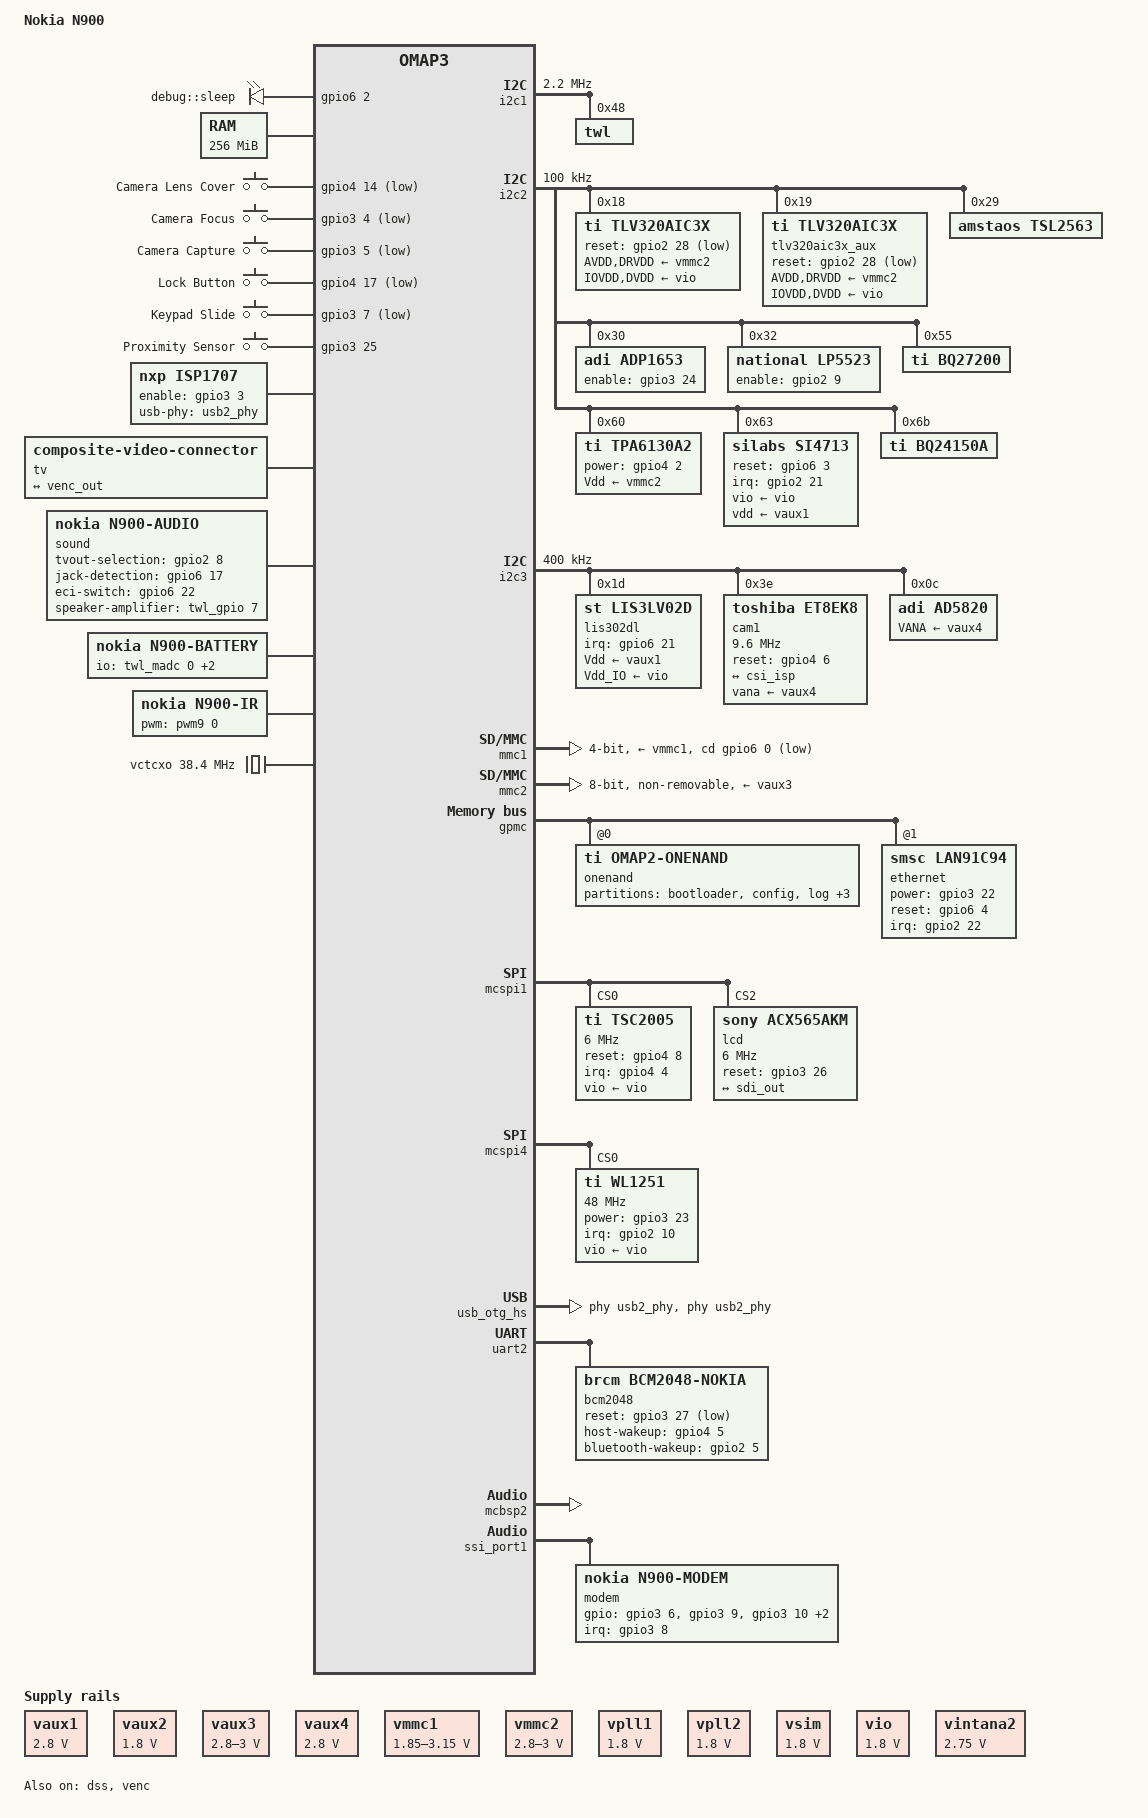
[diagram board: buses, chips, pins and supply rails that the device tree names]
// SPDX-License-Identifier: GPL-2.0-or-later
/*
 * Copyright (C) 2013 Pavel Machek <pavel@ucw.cz>
 * Copyright (C) 2013-2014 Aaro Koskinen <aaro.koskinen@iki.fi>
 */

/dts-v1/;

#include "omap34xx.dtsi"
#include <dt-bindings/input/input.h>

/*
 * Default secure signed bootloader (Nokia X-Loader) does not enable L3 firewall
 * for omap AES HW crypto support. When linux kernel try to access memory of AES
 * blocks then kernel receive "Unhandled fault: external abort on non-linefetch"
 * and crash. Until somebody fix omap-aes.c and omap_hwmod_3xxx_data.c code (no
 * crash anymore) omap AES support will be disabled for all Nokia N900 devices.
 * There is "unofficial" version of bootloader which enables AES in L3 firewall
 * but it is not widely used and to prevent kernel crash rather AES is disabled.
 * There is also no runtime detection code if AES is disabled in L3 firewall...
 */
&aes {
	status = "disabled";
};

/ {
	model = "Nokia N900";
	compatible = "nokia,omap3-n900", "ti,omap3430", "ti,omap3";

	aliases {
		i2c0;
		i2c1 = &i2c1;
		i2c2 = &i2c2;
		i2c3 = &i2c3;
		display0 = &lcd;
		display1 = &tv;
	};

	cpus {
		cpu@0 {
			cpu0-supply = <&vcc>;
		};
	};

	leds {
		compatible = "gpio-leds";
		heartbeat {
			label = "debug::sleep";
			gpios = <&gpio6 2 GPIO_ACTIVE_HIGH>;  /* 162 */
			linux,default-trigger = "default-on";
			pinctrl-names = "default";
			pinctrl-0 = <&debug_leds>;
		};
	};

	memory@80000000 {
		device_type = "memory";
		reg = <0x80000000 0x10000000>; /* 256 MB */
	};

	gpio_keys {
		compatible = "gpio-keys";

		camera_lens_cover {
			label = "Camera Lens Cover";
			gpios = <&gpio4 14 GPIO_ACTIVE_LOW>; /* 110 */
			linux,input-type = <EV_SW>;
			linux,code = <SW_CAMERA_LENS_COVER>;
			linux,can-disable;
		};

		camera_focus {
			label = "Camera Focus";
			gpios = <&gpio3 4 GPIO_ACTIVE_LOW>; /* 68 */
			linux,code = <KEY_CAMERA_FOCUS>;
			linux,can-disable;
		};

		camera_capture {
			label = "Camera Capture";
			gpios = <&gpio3 5 GPIO_ACTIVE_LOW>; /* 69 */
			linux,code = <KEY_CAMERA>;
			linux,can-disable;
		};

		lock_button {
			label = "Lock Button";
			gpios = <&gpio4 17 GPIO_ACTIVE_LOW>; /* 113 */
			linux,code = <KEY_SCREENLOCK>;
			linux,can-disable;
		};

		keypad_slide {
			label = "Keypad Slide";
			gpios = <&gpio3 7 GPIO_ACTIVE_LOW>; /* 71 */
			linux,input-type = <EV_SW>;
			linux,code = <SW_KEYPAD_SLIDE>;
			linux,can-disable;
		};

		proximity_sensor {
			label = "Proximity Sensor";
			gpios = <&gpio3 25 GPIO_ACTIVE_HIGH>; /* 89 */
			linux,input-type = <EV_SW>;
			linux,code = <SW_FRONT_PROXIMITY>;
			linux,can-disable;
		};
	};

	isp1707: isp1707 {
		compatible = "nxp,isp1707";
		nxp,enable-gpio = <&gpio3 3 GPIO_ACTIVE_HIGH>;
		usb-phy = <&usb2_phy>;
	};

	tv: connector {
		compatible = "composite-video-connector";
		label = "tv";

		port {
			tv_connector_in: endpoint {
				remote-endpoint = <&venc_out>;
			};
		};
	};

	sound: n900-audio {
		compatible = "nokia,n900-audio";

		nokia,cpu-dai = <&mcbsp2>;
		nokia,audio-codec = <&tlv320aic3x>, <&tlv320aic3x_aux>;
		nokia,headphone-amplifier = <&tpa6130a2>;

		tvout-selection-gpios = <&gpio2 8 GPIO_ACTIVE_HIGH>; /* 40 */
		jack-detection-gpios = <&gpio6 17 GPIO_ACTIVE_HIGH>; /* 177 */
		eci-switch-gpios = <&gpio6 22 GPIO_ACTIVE_HIGH>; /* 182 */
		speaker-amplifier-gpios = <&twl_gpio 7 GPIO_ACTIVE_HIGH>;
	};

	battery: n900-battery {
		compatible = "nokia,n900-battery";
		io-channels = <&twl_madc 0>, <&twl_madc 4>, <&twl_madc 12>;
		io-channel-names = "temp", "bsi", "vbat";
	};

	pwm9: dmtimer-pwm {
		compatible = "ti,omap-dmtimer-pwm";
		#pwm-cells = <3>;
		ti,timers = <&timer9>;
		ti,clock-source = <0x00>; /* timer_sys_ck */
	};

	ir: n900-ir {
		compatible = "nokia,n900-ir";
		pwms = <&pwm9 0 26316 0>; /* 38000 Hz */
	};

	rom_rng: rng {
		compatible = "nokia,n900-rom-rng";
		clocks = <&rng_ick>;
		clock-names = "ick";
	};

	/* controlled (enabled/disabled) directly by bcm2048 and wl1251 */
	vctcxo: vctcxo {
		compatible = "fixed-clock";
		#clock-cells = <0>;
		clock-frequency = <38400000>;
	};
};

&isp {
	vdds_csib-supply = <&vaux2>;

	pinctrl-names = "default";
	pinctrl-0 = <&camera_pins>;

	ports {
		port@1 {
			reg = <1>;

			csi_isp: endpoint {
				remote-endpoint = <&csi_cam1>;
				bus-type = <3>; /* CCP2 */
				clock-lanes = <1>;
				data-lanes = <0>;
				lane-polarity = <0 0>;
				/* Select strobe = <1> for back camera, <0> for front camera */
				strobe = <1>;
			};
		};
	};
};

&omap3_pmx_core {
	pinctrl-names = "default";

	uart2_pins: pinmux_uart2_pins {
		pinctrl-single,pins = <
			OMAP3_CORE1_IOPAD(0x2174, PIN_INPUT_PULLUP | MUX_MODE0)		/* uart2_cts */
			OMAP3_CORE1_IOPAD(0x2176, PIN_OUTPUT | MUX_MODE0)		/* uart2_rts */
			OMAP3_CORE1_IOPAD(0x2178, PIN_OUTPUT | MUX_MODE0)		/* uart2_tx */
			OMAP3_CORE1_IOPAD(0x217a, PIN_INPUT | MUX_MODE0)		/* uart2_rx */
		>;
	};

	uart3_pins: pinmux_uart3_pins {
		pinctrl-single,pins = <
			OMAP3_CORE1_IOPAD(0x219e, PIN_INPUT | MUX_MODE0)		/* uart3_rx */
			OMAP3_CORE1_IOPAD(0x21a0, PIN_OUTPUT | MUX_MODE0)		/* uart3_tx */
		>;
	};

	ethernet_pins: pinmux_ethernet_pins {
		pinctrl-single,pins = <
			OMAP3_CORE1_IOPAD(0x20b4, PIN_INPUT_PULLDOWN | MUX_MODE4)	/* gpmc_ncs3.gpio_54 */
			OMAP3_CORE1_IOPAD(0x20fc, PIN_OUTPUT | MUX_MODE4)		/* dss_data16.gpio_86 */
			OMAP3_CORE1_IOPAD(0x219c, PIN_OUTPUT | MUX_MODE4)		/* uart3_rts_sd.gpio_164 */
		>;
	};

	gpmc_pins: pinmux_gpmc_pins {
		pinctrl-single,pins = <

			/* address lines */
                        OMAP3_CORE1_IOPAD(0x207a, PIN_OUTPUT | MUX_MODE0)       /* gpmc_a1.gpmc_a1 */
                        OMAP3_CORE1_IOPAD(0x207c, PIN_OUTPUT | MUX_MODE0)       /* gpmc_a2.gpmc_a2 */
                        OMAP3_CORE1_IOPAD(0x207e, PIN_OUTPUT | MUX_MODE0)       /* gpmc_a3.gpmc_a3 */

			/* data lines, gpmc_d0..d7 not muxable according to TRM */
                        OMAP3_CORE1_IOPAD(0x209e, PIN_INPUT | MUX_MODE0)        /* gpmc_d8.gpmc_d8 */
                        OMAP3_CORE1_IOPAD(0x20a0, PIN_INPUT | MUX_MODE0)        /* gpmc_d9.gpmc_d9 */
                        OMAP3_CORE1_IOPAD(0x20a2, PIN_INPUT | MUX_MODE0)        /* gpmc_d10.gpmc_d10 */
                        OMAP3_CORE1_IOPAD(0x20a4, PIN_INPUT | MUX_MODE0)        /* gpmc_d11.gpmc_d11 */
                        OMAP3_CORE1_IOPAD(0x20a6, PIN_INPUT | MUX_MODE0)        /* gpmc_d12.gpmc_d12 */
                        OMAP3_CORE1_IOPAD(0x20a8, PIN_INPUT | MUX_MODE0)        /* gpmc_d13.gpmc_d13 */
                        OMAP3_CORE1_IOPAD(0x20aa, PIN_INPUT | MUX_MODE0)        /* gpmc_d14.gpmc_d14 */
                        OMAP3_CORE1_IOPAD(0x20ac, PIN_INPUT | MUX_MODE0)        /* gpmc_d15.gpmc_d15 */

			/*
			 * gpmc_ncs0, gpmc_nadv_ale, gpmc_noe, gpmc_nwe, gpmc_wait0 not muxable
			 * according to TRM. OneNAND seems to require PIN_INPUT on clock.
			 */
                        OMAP3_CORE1_IOPAD(0x20b0, PIN_OUTPUT | MUX_MODE0)       /* gpmc_ncs1.gpmc_ncs1 */
                        OMAP3_CORE1_IOPAD(0x20be, PIN_INPUT | MUX_MODE0)        /* gpmc_clk.gpmc_clk */
		>;
	};

	i2c1_pins: pinmux_i2c1_pins {
		pinctrl-single,pins = <
			OMAP3_CORE1_IOPAD(0x21ba, PIN_INPUT | MUX_MODE0)		/* i2c1_scl */
			OMAP3_CORE1_IOPAD(0x21bc, PIN_INPUT | MUX_MODE0)		/* i2c1_sda */
		>;
	};

	i2c2_pins: pinmux_i2c2_pins {
		pinctrl-single,pins = <
			OMAP3_CORE1_IOPAD(0x21be, PIN_INPUT | MUX_MODE0)		/* i2c2_scl */
			OMAP3_CORE1_IOPAD(0x21c0, PIN_INPUT | MUX_MODE0)		/* i2c2_sda */
		>;
	};

	i2c3_pins: pinmux_i2c3_pins {
		pinctrl-single,pins = <
			OMAP3_CORE1_IOPAD(0x21c2, PIN_INPUT | MUX_MODE0)		/* i2c3_scl */
			OMAP3_CORE1_IOPAD(0x21c4, PIN_INPUT | MUX_MODE0)		/* i2c3_sda */
		>;
	};

	debug_leds: pinmux_debug_led_pins {
		pinctrl-single,pins = <
			OMAP3_CORE1_IOPAD(0x2198, PIN_OUTPUT | MUX_MODE4)	/* mcbsp1_clkx.gpio_162 */
		>;
	};

	mcspi4_pins: pinmux_mcspi4_pins {
		pinctrl-single,pins = <
			OMAP3_CORE1_IOPAD(0x218c, PIN_INPUT_PULLDOWN | MUX_MODE1) /* mcspi4_clk */
			OMAP3_CORE1_IOPAD(0x2192, PIN_INPUT_PULLDOWN | MUX_MODE1) /* mcspi4_somi */
			OMAP3_CORE1_IOPAD(0x2190, PIN_OUTPUT | MUX_MODE1) /* mcspi4_simo */
			OMAP3_CORE1_IOPAD(0x2196, PIN_OUTPUT | MUX_MODE1) /* mcspi4_cs0 */
		>;
	};

	mmc1_pins: pinmux_mmc1_pins {
		pinctrl-single,pins = <
			OMAP3_CORE1_IOPAD(0x2144, PIN_INPUT_PULLUP | MUX_MODE0)	/* sdmmc1_clk */
			OMAP3_CORE1_IOPAD(0x2146, PIN_INPUT_PULLUP | MUX_MODE0)	/* sdmmc1_cmd */
			OMAP3_CORE1_IOPAD(0x2148, PIN_INPUT_PULLUP | MUX_MODE0) 	/* sdmmc1_dat0 */
			OMAP3_CORE1_IOPAD(0x214a, PIN_INPUT_PULLUP | MUX_MODE0)	/* sdmmc1_dat1 */
			OMAP3_CORE1_IOPAD(0x214c, PIN_INPUT_PULLUP | MUX_MODE0)	/* sdmmc1_dat2 */
			OMAP3_CORE1_IOPAD(0x214e, PIN_INPUT_PULLUP | MUX_MODE0)	/* sdmmc1_dat3 */
		>;
	};

	mmc2_pins: pinmux_mmc2_pins {
		pinctrl-single,pins = <
			OMAP3_CORE1_IOPAD(0x2158, PIN_INPUT_PULLUP | MUX_MODE0)	/* sdmmc2_clk */
			OMAP3_CORE1_IOPAD(0x215a, PIN_INPUT_PULLUP | MUX_MODE0)	/* sdmmc2_cmd */
			OMAP3_CORE1_IOPAD(0x215c, PIN_INPUT_PULLUP | MUX_MODE0) 	/* sdmmc2_dat0 */
			OMAP3_CORE1_IOPAD(0x215e, PIN_INPUT_PULLUP | MUX_MODE0)	/* sdmmc2_dat1 */
			OMAP3_CORE1_IOPAD(0x2160, PIN_INPUT_PULLUP | MUX_MODE0)	/* sdmmc2_dat2 */
			OMAP3_CORE1_IOPAD(0x2162, PIN_INPUT_PULLUP | MUX_MODE0)	/* sdmmc2_dat3 */
			OMAP3_CORE1_IOPAD(0x2164, PIN_INPUT_PULLUP | MUX_MODE0)	/* sdmmc2_dat4 */
			OMAP3_CORE1_IOPAD(0x2166, PIN_INPUT_PULLUP | MUX_MODE0)	/* sdmmc2_dat5 */
			OMAP3_CORE1_IOPAD(0x2168, PIN_INPUT_PULLUP | MUX_MODE0)	/* sdmmc2_dat6 */
			OMAP3_CORE1_IOPAD(0x216a, PIN_INPUT_PULLUP | MUX_MODE0)	/* sdmmc2_dat7 */
		>;
	};

	acx565akm_pins: pinmux_acx565akm_pins {
		pinctrl-single,pins = <
			OMAP3_CORE1_IOPAD(0x2104, PIN_OUTPUT | MUX_MODE4)		/* RX51_LCD_RESET_GPIO */
		>;
	};

	dss_sdi_pins: pinmux_dss_sdi_pins {
		pinctrl-single,pins = <
			OMAP3_CORE1_IOPAD(0x20f0, PIN_OUTPUT | MUX_MODE1)   /* dss_data10.sdi_dat1n */
			OMAP3_CORE1_IOPAD(0x20f2, PIN_OUTPUT | MUX_MODE1)   /* dss_data11.sdi_dat1p */
			OMAP3_CORE1_IOPAD(0x20f4, PIN_OUTPUT | MUX_MODE1)   /* dss_data12.sdi_dat2n */
			OMAP3_CORE1_IOPAD(0x20f6, PIN_OUTPUT | MUX_MODE1)   /* dss_data13.sdi_dat2p */

			OMAP3_CORE1_IOPAD(0x2108, PIN_OUTPUT | MUX_MODE1)   /* dss_data22.sdi_clkp */
			OMAP3_CORE1_IOPAD(0x210a, PIN_OUTPUT | MUX_MODE1)   /* dss_data23.sdi_clkn */
		>;
	};

	wl1251_pins: pinmux_wl1251 {
		pinctrl-single,pins = <
			OMAP3_CORE1_IOPAD(0x20fe, PIN_OUTPUT | MUX_MODE4)		/* gpio 87 => wl1251 enable */
			OMAP3_CORE1_IOPAD(0x208a, PIN_INPUT | MUX_MODE4)		/* gpio 42 => wl1251 irq */
		>;
	};

	ssi_pins: pinmux_ssi {
		pinctrl-single,pins = <
			OMAP3_CORE1_IOPAD(0x2180, PIN_INPUT_PULLUP | MUX_MODE1)	/* ssi1_rdy_tx */
			OMAP3_CORE1_IOPAD(0x217e, PIN_OUTPUT | MUX_MODE1)		/* ssi1_flag_tx */
			OMAP3_CORE1_IOPAD(0x2182, PIN_INPUT | MUX_MODE4)		/* ssi1_wake_tx (cawake) */
			OMAP3_CORE1_IOPAD(0x217c, PIN_OUTPUT | MUX_MODE1)		/* ssi1_dat_tx */
			OMAP3_CORE1_IOPAD(0x2184, PIN_INPUT | MUX_MODE1)		/* ssi1_dat_rx */
			OMAP3_CORE1_IOPAD(0x2186, PIN_INPUT | MUX_MODE1)		/* ssi1_flag_rx */
			OMAP3_CORE1_IOPAD(0x2188, PIN_OUTPUT | MUX_MODE1)		/* ssi1_rdy_rx */
			OMAP3_CORE1_IOPAD(0x218a, PIN_OUTPUT | MUX_MODE1)		/* ssi1_wake */
		>;
	};

	modem_pins: pinmux_modem {
		pinctrl-single,pins = <
			OMAP3_CORE1_IOPAD(0x20dc, PIN_OUTPUT | MUX_MODE4)		/* gpio 70 => cmt_apeslpx */
			OMAP3_CORE1_IOPAD(0x20e0, PIN_INPUT | MUX_MODE4)		/* gpio 72 => ape_rst_rq */
			OMAP3_CORE1_IOPAD(0x20e2, PIN_OUTPUT | MUX_MODE4)		/* gpio 73 => cmt_rst_rq */
			OMAP3_CORE1_IOPAD(0x20e4, PIN_OUTPUT | MUX_MODE4)		/* gpio 74 => cmt_en */
			OMAP3_CORE1_IOPAD(0x20e6, PIN_OUTPUT | MUX_MODE4)		/* gpio 75 => cmt_rst */
			OMAP3_CORE1_IOPAD(0x218e, PIN_OUTPUT | MUX_MODE4)		/* gpio 157 => cmt_bsi */
		>;
	};

	camera_pins: pinmux_camera {
		pinctrl-single,pins = <
			OMAP3_CORE1_IOPAD(0x210c, PIN_OUTPUT | MUX_MODE7)       /* cam_hs */
			OMAP3_CORE1_IOPAD(0x210e, PIN_OUTPUT | MUX_MODE7)       /* cam_vs */
			OMAP3_CORE1_IOPAD(0x2110, PIN_OUTPUT | MUX_MODE0)       /* cam_xclka */
			OMAP3_CORE1_IOPAD(0x211e, PIN_OUTPUT | MUX_MODE7)       /* cam_d4 */
			OMAP3_CORE1_IOPAD(0x2122, PIN_INPUT | MUX_MODE0)        /* cam_d6 */
			OMAP3_CORE1_IOPAD(0x2124, PIN_INPUT | MUX_MODE0)        /* cam_d7 */
			OMAP3_CORE1_IOPAD(0x2126, PIN_INPUT | MUX_MODE0)        /* cam_d8 */
			OMAP3_CORE1_IOPAD(0x2128, PIN_INPUT | MUX_MODE0)        /* cam_d9 */
			OMAP3_CORE1_IOPAD(0x212a, PIN_OUTPUT | MUX_MODE7)       /* cam_d10 */
			OMAP3_CORE1_IOPAD(0x212e, PIN_OUTPUT | MUX_MODE7)       /* cam_xclkb */
			OMAP3_CORE1_IOPAD(0x2132, PIN_OUTPUT | MUX_MODE0)       /* cam_strobe */
		>;
	};
};

&i2c1 {
	pinctrl-names = "default";
	pinctrl-0 = <&i2c1_pins>;

	clock-frequency = <2200000>;

	twl: twl@48 {
		reg = <0x48>;
		interrupts = <7>; /* SYS_NIRQ cascaded to intc */
		interrupt-parent = <&intc>;
	};
};

#include "twl4030.dtsi"
#include "twl4030_omap3.dtsi"

&vaux1 {
	regulator-name = "V28";
	regulator-min-microvolt = <2800000>;
	regulator-max-microvolt = <2800000>;
	regulator-initial-mode = <0x0e>; /* RES_STATE_ACTIVE */
	regulator-always-on; /* due to battery cover sensor */
};

&vaux2 {
	regulator-name = "VCSI";
	regulator-min-microvolt = <1800000>;
	regulator-max-microvolt = <1800000>;
	regulator-initial-mode = <0x0e>; /* RES_STATE_ACTIVE */
};

&vaux3 {
	regulator-name = "VMMC2_30";
	regulator-min-microvolt = <2800000>;
	regulator-max-microvolt = <3000000>;
	regulator-initial-mode = <0x0e>; /* RES_STATE_ACTIVE */
};

&vaux4 {
	regulator-name = "VCAM_ANA_28";
	regulator-min-microvolt = <2800000>;
	regulator-max-microvolt = <2800000>;
	regulator-initial-mode = <0x0e>; /* RES_STATE_ACTIVE */
};

&vmmc1 {
	regulator-name = "VMMC1";
	regulator-min-microvolt = <1850000>;
	regulator-max-microvolt = <3150000>;
	regulator-initial-mode = <0x0e>; /* RES_STATE_ACTIVE */
};

&vmmc2 {
	regulator-name = "V28_A";
	regulator-min-microvolt = <2800000>;
	regulator-max-microvolt = <3000000>;
	regulator-initial-mode = <0x0e>; /* RES_STATE_ACTIVE */
	regulator-always-on; /* due VIO leak to AIC34 VDDs */
};

&vpll1 {
	regulator-name = "VPLL";
	regulator-min-microvolt = <1800000>;
	regulator-max-microvolt = <1800000>;
	regulator-initial-mode = <0x0e>; /* RES_STATE_ACTIVE */
	regulator-always-on;
};

&vpll2 {
	regulator-name = "VSDI_CSI";
	regulator-min-microvolt = <1800000>;
	regulator-max-microvolt = <1800000>;
	regulator-initial-mode = <0x0e>; /* RES_STATE_ACTIVE */
	regulator-always-on;
};

&vsim {
	regulator-name = "VMMC2_IO_18";
	regulator-min-microvolt = <1800000>;
	regulator-max-microvolt = <1800000>;
	regulator-initial-mode = <0x0e>; /* RES_STATE_ACTIVE */
};

&vio {
	regulator-name = "VIO";
	regulator-min-microvolt = <1800000>;
	regulator-max-microvolt = <1800000>;
};

&vintana1 {
	regulator-name = "VINTANA1";
	/* fixed to 1500000 */
	regulator-always-on;
};

&vintana2 {
	regulator-name = "VINTANA2";
	regulator-min-microvolt = <2750000>;
	regulator-max-microvolt = <2750000>;
	regulator-always-on;
};

&vintdig {
	regulator-name = "VINTDIG";
	/* fixed to 1500000 */
	regulator-always-on;
};

/* First two dma channels are reserved on secure omap3 */
&sdma {
	dma-channel-mask = <0xfffffffc>;
};

&twl {
	twl_audio: audio {
		compatible = "ti,twl4030-audio";
		ti,enable-vibra = <1>;
	};

	twl_power: power {
		compatible = "ti,twl4030-power-n900", "ti,twl4030-power-idle-osc-off";
		ti,use_poweroff;
	};
};

&twl_keypad {
	linux,keymap = < MATRIX_KEY(0x00, 0x00, KEY_Q)
			 MATRIX_KEY(0x00, 0x01, KEY_O)
			 MATRIX_KEY(0x00, 0x02, KEY_P)
			 MATRIX_KEY(0x00, 0x03, KEY_COMMA)
			 MATRIX_KEY(0x00, 0x04, KEY_BACKSPACE)
			 MATRIX_KEY(0x00, 0x06, KEY_A)
			 MATRIX_KEY(0x00, 0x07, KEY_S)

			 MATRIX_KEY(0x01, 0x00, KEY_W)
			 MATRIX_KEY(0x01, 0x01, KEY_D)
			 MATRIX_KEY(0x01, 0x02, KEY_F)
			 MATRIX_KEY(0x01, 0x03, KEY_G)
			 MATRIX_KEY(0x01, 0x04, KEY_H)
			 MATRIX_KEY(0x01, 0x05, KEY_J)
			 MATRIX_KEY(0x01, 0x06, KEY_K)
			 MATRIX_KEY(0x01, 0x07, KEY_L)

			 MATRIX_KEY(0x02, 0x00, KEY_E)
			 MATRIX_KEY(0x02, 0x01, KEY_DOT)
			 MATRIX_KEY(0x02, 0x02, KEY_UP)
			 MATRIX_KEY(0x02, 0x03, KEY_ENTER)
			 MATRIX_KEY(0x02, 0x05, KEY_Z)
			 MATRIX_KEY(0x02, 0x06, KEY_X)
			 MATRIX_KEY(0x02, 0x07, KEY_C)
			 MATRIX_KEY(0x02, 0x08, KEY_F9)

			 MATRIX_KEY(0x03, 0x00, KEY_R)
			 MATRIX_KEY(0x03, 0x01, KEY_V)
			 MATRIX_KEY(0x03, 0x02, KEY_B)
			 MATRIX_KEY(0x03, 0x03, KEY_N)
			 MATRIX_KEY(0x03, 0x04, KEY_M)
			 MATRIX_KEY(0x03, 0x05, KEY_SPACE)
			 MATRIX_KEY(0x03, 0x06, KEY_SPACE)
			 MATRIX_KEY(0x03, 0x07, KEY_LEFT)

			 MATRIX_KEY(0x04, 0x00, KEY_T)
			 MATRIX_KEY(0x04, 0x01, KEY_DOWN)
			 MATRIX_KEY(0x04, 0x02, KEY_RIGHT)
			 MATRIX_KEY(0x04, 0x04, KEY_LEFTCTRL)
			 MATRIX_KEY(0x04, 0x05, KEY_RIGHTALT)
			 MATRIX_KEY(0x04, 0x06, KEY_LEFTSHIFT)
			 MATRIX_KEY(0x04, 0x08, KEY_F10)

			 MATRIX_KEY(0x05, 0x00, KEY_Y)
			 MATRIX_KEY(0x05, 0x08, KEY_F11)

			 MATRIX_KEY(0x06, 0x00, KEY_U)

			 MATRIX_KEY(0x07, 0x00, KEY_I)
			 MATRIX_KEY(0x07, 0x01, KEY_F7)
			 MATRIX_KEY(0x07, 0x02, KEY_F8)
			 >;
};

&twl_gpio {
	ti,pullups	= <0x0>;
	ti,pulldowns	= <0x03ff3f>; /* BIT(0..5) | BIT(8..17) */
};

&i2c2 {
	pinctrl-names = "default";
	pinctrl-0 = <&i2c2_pins>;

	clock-frequency = <100000>;

	tlv320aic3x: tlv320aic3x@18 {
		compatible = "ti,tlv320aic3x";
		reg = <0x18>;
		reset-gpios = <&gpio2 28 GPIO_ACTIVE_LOW>; /* 60 */
		ai3x-gpio-func = <
			0 /* AIC3X_GPIO1_FUNC_DISABLED */
			5 /* AIC3X_GPIO2_FUNC_DIGITAL_MIC_INPUT */
		>;

		AVDD-supply = <&vmmc2>;
		DRVDD-supply = <&vmmc2>;
		IOVDD-supply = <&vio>;
		DVDD-supply = <&vio>;

		ai3x-micbias-vg = <1>;
	};

	tlv320aic3x_aux: tlv320aic3x@19 {
		compatible = "ti,tlv320aic3x";
		reg = <0x19>;
		reset-gpios = <&gpio2 28 GPIO_ACTIVE_LOW>; /* 60 */

		AVDD-supply = <&vmmc2>;
		DRVDD-supply = <&vmmc2>;
		IOVDD-supply = <&vio>;
		DVDD-supply = <&vio>;

		ai3x-micbias-vg = <2>;
	};

	tsl2563: tsl2563@29 {
		compatible = "amstaos,tsl2563";
		reg = <0x29>;

		amstaos,cover-comp-gain = <16>;
	};

	adp1653: led-controller@30 {
		compatible = "adi,adp1653";
		reg = <0x30>;
		enable-gpios = <&gpio3 24 GPIO_ACTIVE_HIGH>; /* 88 */

		flash {
			flash-timeout-us = <500000>;
			flash-max-microamp = <320000>;
			led-max-microamp = <50000>;
		};
		indicator {
			led-max-microamp = <17500>;
		};
	};

	lp5523: lp5523@32 {
		compatible = "national,lp5523";
		reg = <0x32>;
		clock-mode = /bits/ 8 <0>; /* LP55XX_CLOCK_AUTO */
		enable-gpio = <&gpio2 9 GPIO_ACTIVE_HIGH>; /* 41 */

		chan0 {
			chan-name = "lp5523:kb1";
			led-cur = /bits/ 8 <50>;
			max-cur = /bits/ 8 <100>;
		};

		chan1 {
			chan-name = "lp5523:kb2";
			led-cur = /bits/ 8 <50>;
			max-cur = /bits/ 8 <100>;
		};

		chan2 {
			chan-name = "lp5523:kb3";
			led-cur = /bits/ 8 <50>;
			max-cur = /bits/ 8 <100>;
		};

		chan3 {
			chan-name = "lp5523:kb4";
			led-cur = /bits/ 8 <50>;
			max-cur = /bits/ 8 <100>;
		};

		chan4 {
			chan-name = "lp5523:b";
			led-cur = /bits/ 8 <50>;
			max-cur = /bits/ 8 <100>;
		};

		chan5 {
			chan-name = "lp5523:g";
			led-cur = /bits/ 8 <50>;
			max-cur = /bits/ 8 <100>;
		};

		chan6 {
			chan-name = "lp5523:r";
			led-cur = /bits/ 8 <50>;
			max-cur = /bits/ 8 <100>;
		};

		chan7 {
			chan-name = "lp5523:kb5";
			led-cur = /bits/ 8 <50>;
			max-cur = /bits/ 8 <100>;
		};

		chan8 {
			chan-name = "lp5523:kb6";
			led-cur = /bits/ 8 <50>;
			max-cur = /bits/ 8 <100>;
		};
	};

	bq27200: bq27200@55 {
		compatible = "ti,bq27200";
		reg = <0x55>;
		power-supplies = <&bq24150a>;
	};

	/* Stereo headphone amplifier */
	tpa6130a2: tpa6130a2@60 {
		compatible = "ti,tpa6130a2";
		reg = <0x60>;

		Vdd-supply = <&vmmc2>;

		power-gpio = <&gpio4 2 GPIO_ACTIVE_HIGH>; /* 98 */
	};

	si4713: si4713@63 {
		compatible = "silabs,si4713";
                reg = <0x63>;

                interrupts-extended = <&gpio2 21 IRQ_TYPE_EDGE_FALLING>; /* 53 */
                reset-gpios = <&gpio6 3 GPIO_ACTIVE_HIGH>; /* 163 */
                vio-supply = <&vio>;
                vdd-supply = <&vaux1>;
	};

	bq24150a: bq24150a@6b {
		compatible = "ti,bq24150a";
		reg = <0x6b>;

		ti,current-limit = <100>;
		ti,weak-battery-voltage = <3400>;
		ti,battery-regulation-voltage = <4200>;
		ti,charge-current = <650>;
		ti,termination-current = <100>;
		ti,resistor-sense = <68>;

		ti,usb-charger-detection = <&isp1707>;
	};
};

&i2c3 {
	pinctrl-names = "default";
	pinctrl-0 = <&i2c3_pins>;

	clock-frequency = <400000>;

	lis302dl: lis3lv02d@1d {
		compatible = "st,lis3lv02d";
		reg = <0x1d>;

		Vdd-supply = <&vaux1>;
		Vdd_IO-supply = <&vio>;

		interrupt-parent = <&gpio6>;
		interrupts = <21 20>; /* 181 and 180 */

		/* click flags */
		st,click-single-x;
		st,click-single-y;
		st,click-single-z;

		/* Limits are 0.5g * value */
		st,click-threshold-x = <8>;
		st,click-threshold-y = <8>;
		st,click-threshold-z = <10>;

		/* Click must be longer than time limit */
		st,click-time-limit = <9>;

		/* Kind of debounce filter */
		st,click-latency = <50>;

		/* Interrupt line 2 for click detection */
		st,irq2-click;

		st,wakeup-x-hi;
		st,wakeup-y-hi;
		st,wakeup-threshold = <(800/18)>; /* millig-value / 18 to get HW values */

		st,wakeup2-z-hi;
		st,wakeup2-threshold = <(900/18)>; /* millig-value / 18 to get HW values */

		st,hipass1-disable;
		st,hipass2-disable;

		st,axis-x = <1>;    /* LIS3_DEV_X */
		st,axis-y = <(-2)>; /* LIS3_INV_DEV_Y */
		st,axis-z = <(-3)>; /* LIS3_INV_DEV_Z */

		st,min-limit-x = <(-32)>;
		st,min-limit-y = <3>;
		st,min-limit-z = <3>;

		st,max-limit-x = <(-3)>;
		st,max-limit-y = <32>;
		st,max-limit-z = <32>;
	};

	cam1: camera@3e {
		compatible = "toshiba,et8ek8";
		reg = <0x3e>;

		vana-supply = <&vaux4>;

		clocks = <&isp 0>;
		clock-names = "extclk";
		clock-frequency = <9600000>;

		reset-gpio = <&gpio4 6 GPIO_ACTIVE_HIGH>; /* 102 */

		lens-focus = <&ad5820>;

		port {
			csi_cam1: endpoint {
				bus-type = <3>; /* CCP2 */
				strobe = <1>;
				clock-inv = <0>;
				crc = <1>;

				remote-endpoint = <&csi_isp>;
			};
		};
	};

	/* D/A converter for auto-focus */
	ad5820: dac@c {
		compatible = "adi,ad5820";
		reg = <0x0c>;

		VANA-supply = <&vaux4>;

		#io-channel-cells = <0>;
	};
};

&mmc1 {
	pinctrl-names = "default";
	pinctrl-0 = <&mmc1_pins>;
	vmmc-supply = <&vmmc1>;
	bus-width = <4>;
	/* For debugging, it is often good idea to remove this GPIO.
	   It means you can remove back cover (to reboot by removing
	   battery) and still use the MMC card. */
	cd-gpios = <&gpio6 0 GPIO_ACTIVE_LOW>; /* 160 */
};

/* most boards use vaux3, only some old versions use vmmc2 instead */
&mmc2 {
	pinctrl-names = "default";
	pinctrl-0 = <&mmc2_pins>;
	vmmc-supply = <&vaux3>;
	vqmmc-supply = <&vsim>;
	bus-width = <8>;
	non-removable;
	no-sdio;
	no-sd;
};

&mmc3 {
	status = "disabled";
};

&gpmc {
	ranges = <0 0 0x01000000 0x01000000>,	/* 16 MB for OneNAND */
		 <1 0 0x02000000 0x01000000>;	/* 16 MB for smc91c96 */
	pinctrl-names = "default";
	pinctrl-0 = <&gpmc_pins>;

	/* sys_ndmareq1 could be used by the driver, not as gpio65 though */
	onenand@0,0 {
		#address-cells = <1>;
		#size-cells = <1>;
		compatible = "ti,omap2-onenand";
		reg = <0 0 0x20000>;	/* CS0, offset 0, IO size 128K */

		/*
		 * These timings are based on CONFIG_OMAP_GPMC_DEBUG=y reported
		 * bootloader set values when booted with v5.1
		 * (OneNAND Manufacturer: Samsung):
		 *
		 *   cs0 GPMC_CS_CONFIG1: 0xfb001202
		 *   cs0 GPMC_CS_CONFIG2: 0x00111100
		 *   cs0 GPMC_CS_CONFIG3: 0x00020200
		 *   cs0 GPMC_CS_CONFIG4: 0x11001102
		 *   cs0 GPMC_CS_CONFIG5: 0x03101616
		 *   cs0 GPMC_CS_CONFIG6: 0x90060000
		 */
		gpmc,sync-read;
		gpmc,sync-write;
		gpmc,burst-length = <16>;
		gpmc,burst-read;
		gpmc,burst-wrap;
		gpmc,burst-write;
		gpmc,device-width = <2>;
		gpmc,mux-add-data = <2>;
		gpmc,cs-on-ns = <0>;
		gpmc,cs-rd-off-ns = <102>;
		gpmc,cs-wr-off-ns = <102>;
		gpmc,adv-on-ns = <0>;
		gpmc,adv-rd-off-ns = <12>;
		gpmc,adv-wr-off-ns = <12>;
		gpmc,oe-on-ns = <12>;
		gpmc,oe-off-ns = <102>;
		gpmc,we-on-ns = <0>;
		gpmc,we-off-ns = <102>;
		gpmc,rd-cycle-ns = <132>;
		gpmc,wr-cycle-ns = <132>;
		gpmc,access-ns = <96>;
		gpmc,page-burst-access-ns = <18>;
		gpmc,bus-turnaround-ns = <0>;
		gpmc,cycle2cycle-delay-ns = <0>;
		gpmc,wait-monitoring-ns = <0>;
		gpmc,clk-activation-ns = <6>;
		gpmc,wr-data-mux-bus-ns = <36>;
		gpmc,wr-access-ns = <96>;
		gpmc,sync-clk-ps = <15000>;

		/*
		 * MTD partition table corresponding to Nokia's
		 * Maemo 5 (Fremantle) release.
		 */
		partition@0 {
			label = "bootloader";
			reg = <0x00000000 0x00020000>;
			read-only;
		};
		partition@1 {
			label = "config";
			reg = <0x00020000 0x00060000>;
		};
		partition@2 {
			label = "log";
			reg = <0x00080000 0x00040000>;
		};
		partition@3 {
			label = "kernel";
			reg = <0x000c0000 0x00200000>;
		};
		partition@4 {
			label = "initfs";
			reg = <0x002c0000 0x00200000>;
		};
		partition@5 {
			label = "rootfs";
			reg = <0x004c0000 0x0fb40000>;
		};
	};

	/* Ethernet is on some early development boards and qemu */
	ethernet@gpmc {
		compatible = "smsc,lan91c94";
		interrupt-parent = <&gpio2>;
		interrupts = <22 IRQ_TYPE_LEVEL_HIGH>;	/* gpio54 */
		reg = <1 0 0xf>;		/* 16 byte IO range */
		bank-width = <2>;
		pinctrl-names = "default";
		pinctrl-0 = <&ethernet_pins>;
		power-gpios = <&gpio3 22 GPIO_ACTIVE_HIGH>;	/* gpio86 */
		reset-gpios = <&gpio6 4 GPIO_ACTIVE_HIGH>;	/* gpio164 */
		gpmc,device-width = <2>;
		gpmc,sync-clk-ps = <0>;
		gpmc,cs-on-ns = <0>;
		gpmc,cs-rd-off-ns = <48>;
		gpmc,cs-wr-off-ns = <24>;
		gpmc,adv-on-ns = <0>;
		gpmc,adv-rd-off-ns = <0>;
		gpmc,adv-wr-off-ns = <0>;
		gpmc,we-on-ns = <12>;
		gpmc,we-off-ns = <18>;
		gpmc,oe-on-ns = <12>;
		gpmc,oe-off-ns = <48>;
		gpmc,page-burst-access-ns = <0>;
		gpmc,access-ns = <42>;
		gpmc,rd-cycle-ns = <180>;
		gpmc,wr-cycle-ns = <180>;
		gpmc,bus-turnaround-ns = <0>;
		gpmc,cycle2cycle-delay-ns = <0>;
		gpmc,wait-monitoring-ns = <0>;
		gpmc,clk-activation-ns = <0>;
		gpmc,wr-access-ns = <0>;
		gpmc,wr-data-mux-bus-ns = <12>;
	};
};

&mcspi1 {
	/*
	 * For some reason, touchscreen is necessary for screen to work at
	 * all on real hw. It works well without it on emulator.
	 *
	 * Also... order in the device tree actually matters here.
	 */
	tsc2005@0 {
		compatible = "ti,tsc2005";
		spi-max-frequency = <6000000>;
		reg = <0>;

		vio-supply = <&vio>;

		reset-gpios = <&gpio4 8 GPIO_ACTIVE_HIGH>; /* 104 */
		interrupts-extended = <&gpio4 4 IRQ_TYPE_EDGE_RISING>; /* 100 */

		touchscreen-fuzz-x = <4>;
		touchscreen-fuzz-y = <7>;
		touchscreen-fuzz-pressure = <2>;
		touchscreen-size-x = <4096>;
		touchscreen-size-y = <4096>;
		touchscreen-max-pressure = <2048>;

		ti,x-plate-ohms = <280>;
		ti,esd-recovery-timeout-ms = <8000>;
	};

	lcd: acx565akm@2 {
		compatible = "sony,acx565akm";
		spi-max-frequency = <6000000>;
		reg = <2>;

		pinctrl-names = "default";
		pinctrl-0 = <&acx565akm_pins>;

		label = "lcd";
		reset-gpios = <&gpio3 26 GPIO_ACTIVE_HIGH>; /* 90 */

		port {
			lcd_in: endpoint {
				remote-endpoint = <&sdi_out>;
			};
		};
	};
};

&mcspi4 {
	pinctrl-names = "default";
	pinctrl-0 = <&mcspi4_pins>;

	wl1251@0 {
		pinctrl-names = "default";
		pinctrl-0 = <&wl1251_pins>;

		vio-supply = <&vio>;

		compatible = "ti,wl1251";
		reg = <0>;
		spi-max-frequency = <48000000>;

		spi-cpol;
		spi-cpha;

		ti,power-gpio = <&gpio3 23 GPIO_ACTIVE_HIGH>; /* 87 */

		interrupt-parent = <&gpio2>;
		interrupts = <10 IRQ_TYPE_NONE>; /* gpio line 42 */

		clocks = <&vctcxo>;
	};
};

/* RNG not directly accessible on n900, see omap3-rom-rng instead */
&rng_target {
	status = "disabled";
};

&usb_otg_hs {
	interface-type = <0>;
	usb-phy = <&usb2_phy>;
	phys = <&usb2_phy>;
	phy-names = "usb2-phy";
	mode = <2>;
	power = <50>;
};

&uart1 {
	status = "disabled";
};

&uart2 {
	pinctrl-names = "default";
	pinctrl-0 = <&uart2_pins>;

	bcm2048: bluetooth {
		compatible = "brcm,bcm2048-nokia", "nokia,h4p-bluetooth";
		reset-gpios = <&gpio3 27 GPIO_ACTIVE_LOW>; /* 91 */
		host-wakeup-gpios = <&gpio4 5 GPIO_ACTIVE_HIGH>; /* 101 */
		bluetooth-wakeup-gpios = <&gpio2 5 GPIO_ACTIVE_HIGH>; /* 37 */
		clocks = <&vctcxo>;
		clock-names = "sysclk";
	};
};

&uart3 {
	interrupts-extended = <&intc 74 &omap3_pmx_core OMAP3_UART3_RX>;
	pinctrl-names = "default";
	pinctrl-0 = <&uart3_pins>;
};

&dss {
	status = "ok";

	pinctrl-names = "default";
	pinctrl-0 = <&dss_sdi_pins>;

	vdds_sdi-supply = <&vaux1>;

	ports {
		#address-cells = <1>;
		#size-cells = <0>;

		port@1 {
			reg = <1>;

			sdi_out: endpoint {
				remote-endpoint = <&lcd_in>;
				datapairs = <2>;
			};
		};
	};
};

&venc {
	status = "ok";

	vdda-supply = <&vdac>;

	port {
		venc_out: endpoint {
			remote-endpoint = <&tv_connector_in>;
			ti,channels = <1>;
		};
	};
};

&mcbsp2 {
	status = "ok";
};

&ssi_port1 {
	pinctrl-names = "default";
	pinctrl-0 = <&ssi_pins>;

	ti,ssi-cawake-gpio = <&gpio5 23 GPIO_ACTIVE_HIGH>; /* 151 */

	modem: hsi-client {
		compatible = "nokia,n900-modem";

		pinctrl-names = "default";
		pinctrl-0 = <&modem_pins>;

		hsi-channel-ids = <0>, <1>, <2>, <3>;
		hsi-channel-names = "mcsaab-control",
				    "speech-control",
				    "speech-data",
				    "mcsaab-data";
		hsi-speed-kbps = <55000>;
		hsi-mode = "frame";
		hsi-flow = "synchronized";
		hsi-arb-mode = "round-robin";

		interrupts-extended = <&gpio3 8 IRQ_TYPE_EDGE_FALLING>; /* 72 */

		gpios = <&gpio3  6 GPIO_ACTIVE_HIGH>, /* 70 */
			<&gpio3  9 GPIO_ACTIVE_HIGH>, /* 73 */
			<&gpio3 10 GPIO_ACTIVE_HIGH>, /* 74 */
			<&gpio3 11 GPIO_ACTIVE_HIGH>, /* 75 */
			<&gpio5 29 GPIO_ACTIVE_HIGH>; /* 157 */
		gpio-names = "cmt_apeslpx",
			     "cmt_rst_rq",
			     "cmt_en",
			     "cmt_rst",
			     "cmt_bsi";
	};
};

&ssi_port2 {
	status = "disabled";
};
